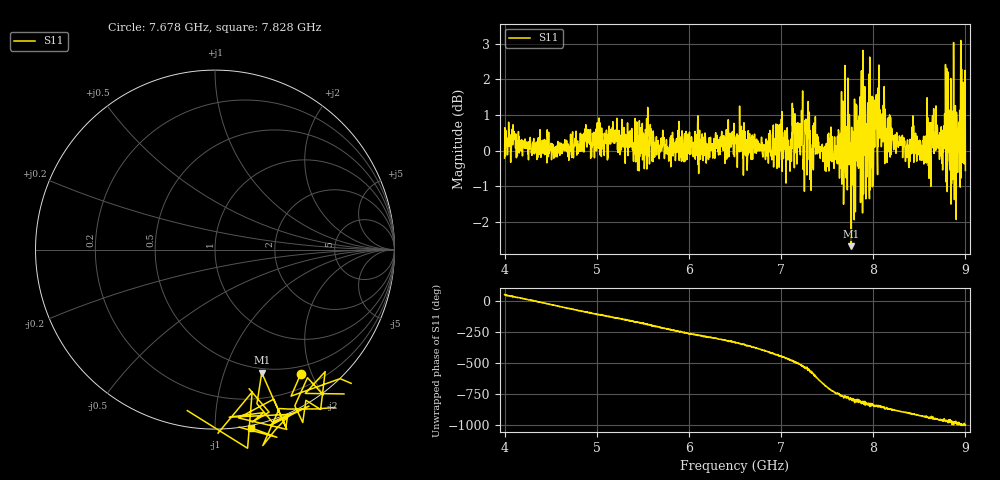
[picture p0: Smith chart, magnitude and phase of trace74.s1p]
! Created with skrf 1.8.0 (http://scikit-rf.org).
# Hz S RI R 50.0
!freq ReS11 ImS11
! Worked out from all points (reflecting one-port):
!   1601 points, 4 GHz to 9 GHz, reference 50 ohm
!   lowest |S11| = -2.7 dB at 7.762 GHz (marker M1), VSWR 6.51, Z = 22.7 - j67.4 ohm
!   phase of S11 starts at 53 deg and turns -1051 deg over the sweep
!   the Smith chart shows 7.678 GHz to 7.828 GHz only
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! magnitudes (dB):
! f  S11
! 4 GHz  -0.2
! 4.1 GHz  0.3
! 4.625 GHz  -0.1
! 5.25 GHz  -0.1
! 5.875 GHz  0.0
! 6.5 GHz  0.3
! 7.078 GHz  0.3
! 7.125 GHz  0.7
! 7.262 GHz  0.9
! 7.284 GHz  0.3
! 7.334 GHz  -0.3
! 7.381 GHz  0.4
! 7.478 GHz  -0.6
! 7.672 GHz  1.4
! 7.75 GHz  0.2
! 7.762 GHz  -2.7
! 7.784 GHz  -0.5
! 7.891 GHz  -0.3
! 7.981 GHz  -0.4
! 8.05 GHz  1.8
! 8.375 GHz  0.1
! 8.603 GHz  -0.5
! 8.656 GHz  1.2
! 8.738 GHz  0.7
! 8.788 GHz  0.9
! 8.841 GHz  2.0
! 8.972 GHz  0.5
! 9 GHz  -0.6
